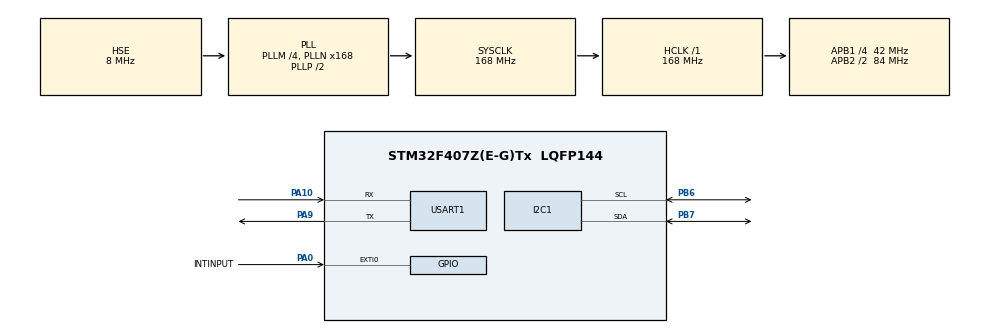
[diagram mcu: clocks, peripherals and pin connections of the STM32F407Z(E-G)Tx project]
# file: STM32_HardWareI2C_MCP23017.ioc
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Mcu.Family=STM32F4
Mcu.Name=STM32F407Z(E-G)Tx
Mcu.Package=LQFP144
NVIC.EXTI0_IRQn=true\:3\:3\:true\:false\:true\:true
NVIC.PriorityGroup=NVIC_PRIORITYGROUP_2
PA0-WKUP.GPIO_Label=INTINPUT
PA0-WKUP.GPIO_ModeDefaultEXTI=GPIO_MODE_IT_FALLING
PA0-WKUP.GPIO_PuPd=GPIO_PULLUP
PA0-WKUP.Signal=GPXTI0
PA10.Mode=Asynchronous
PA10.Signal=USART1_RX
PA13.Mode=Serial_Wire
PA13.Signal=SYS_JTMS-SWDIO
PA14.Mode=Serial_Wire
PA14.Signal=SYS_JTCK-SWCLK
PA9.Mode=Asynchronous
PA9.Signal=USART1_TX
PB6.Mode=I2C
PB6.Signal=I2C1_SCL
PB7.Mode=I2C
PB7.Signal=I2C1_SDA
PH0-OSC_IN.Mode=HSE-External-Oscillator
PH0-OSC_IN.Signal=RCC_OSC_IN
PH1-OSC_OUT.Mode=HSE-External-Oscillator
PH1-OSC_OUT.Signal=RCC_OSC_OUT
ProjectManager.HeapSize=0x200
ProjectManager.StackSize=0x400
ProjectManager.TargetToolchain=MDK-ARM V5
RCC.48MHZClocksFreq_Value=84000000
RCC.AHBFreq_Value=168000000
RCC.APB1CLKDivider=RCC_HCLK_DIV4
RCC.APB1Freq_Value=42000000
RCC.APB1TimFreq_Value=84000000
RCC.APB2CLKDivider=RCC_HCLK_DIV2
RCC.APB2Freq_Value=84000000
RCC.APB2TimFreq_Value=168000000
RCC.CortexFreq_Value=168000000
RCC.HCLKFreq_Value=168000000
RCC.HSE_VALUE=8000000
RCC.HSI_VALUE=16000000
RCC.LSE_VALUE=32768
RCC.PLLM=4
RCC.PLLN=168
RCC.PLLSourceVirtual=RCC_PLLSOURCE_HSE
RCC.SYSCLKFreq_VALUE=168000000
RCC.SYSCLKSource=RCC_SYSCLKSOURCE_PLLCLK
RCC.VCOOutputFreq_Value=336000000
USART1.VirtualMode=VM_ASYNC
board=STM32_HardWareI2C_MCP23017

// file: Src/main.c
/**
  ******************************************************************************
  * @file           : main.c
  * @brief          : Main program body
  ******************************************************************************
  ** This notice applies to any and all portions of this file
  * that are not between comment pairs USER CODE BEGIN and
  * USER CODE END. Other portions of this file, whether
  * inserted by the user or by software development tools
  * are owned by their respective copyright owners.
  *
  * COPYRIGHT(c) 2018 STMicroelectronics
  *
  * Redistribution and use in source and binary forms, with or without modification,
  * are permitted provided that the following conditions are met:
  *   1. Redistributions of source code must retain the above copyright notice,
  *      this list of conditions and the following disclaimer.
  *   2. Redistributions in binary form must reproduce the above copyright notice,
  *      this list of conditions and the following disclaimer in the documentation
  *      and/or other materials provided with the distribution.
  *   3. Neither the name of STMicroelectronics nor the names of its contributors
  *      may be used to endorse or promote products derived from this software
  *      without specific prior written permission.
  *
  * THIS SOFTWARE IS PROVIDED BY THE COPYRIGHT HOLDERS AND CONTRIBUTORS "AS IS"
  * AND ANY EXPRESS OR IMPLIED WARRANTIES, INCLUDING, BUT NOT LIMITED TO, THE
  * IMPLIED WARRANTIES OF MERCHANTABILITY AND FITNESS FOR A PARTICULAR PURPOSE ARE
  * DISCLAIMED. IN NO EVENT SHALL THE COPYRIGHT HOLDER OR CONTRIBUTORS BE LIABLE
  * FOR ANY DIRECT, INDIRECT, INCIDENTAL, SPECIAL, EXEMPLARY, OR CONSEQUENTIAL
  * DAMAGES (INCLUDING, BUT NOT LIMITED TO, PROCUREMENT OF SUBSTITUTE GOODS OR
  * SERVICES; LOSS OF USE, DATA, OR PROFITS; OR BUSINESS INTERRUPTION) HOWEVER
  * CAUSED AND ON ANY THEORY OF LIABILITY, WHETHER IN CONTRACT, STRICT LIABILITY,
  * OR TORT (INCLUDING NEGLIGENCE OR OTHERWISE) ARISING IN ANY WAY OUT OF THE USE
  * OF THIS SOFTWARE, EVEN IF ADVISED OF THE POSSIBILITY OF SUCH DAMAGE.
  *
  ******************************************************************************
  */
#include "main.h"
#include "stm32f4xx_hal.h"
#include "i2c.h"
#include "usart.h"
#include "gpio.h"

/* USER CODE BEGIN Includes */
#include "MCP23017.h"
/* USER CODE END Includes */

/* USER CODE BEGIN PV */
/* Private variables ---------------------------------------------------------*/

/* USER CODE END PV */

void SystemClock_Config(void);

/* USER CODE BEGIN PFP */
/* Private function prototypes -----------------------------------------------*/

/* USER CODE END PFP */

int main(void)
{

  /* MCU Configuration----------------------------------------------------------*/

  /* Reset of all peripherals, Initializes the Flash interface and the Systick. */
  HAL_Init();

  /* USER CODE BEGIN Init */
  //the param can be 0 to 7,don't solder A0,A1,A2 result in default address 0x27£¬param is 7
  //Addr(BIN)    Addr(hex)   param
  //010 0111      0x27         7
  //010 0110      0x26         6
  //010 0101      0x25         5
  //010 0100      0x24         4
  //010 0011      0x23         3
  //010 0010      0x22         2
  //010 0001      0x21         1
  //010 0000      0x20         0
  begin(7);
  /* USER CODE END Init */

  /* Configure the system clock */
  SystemClock_Config();

  /* Initialize all configured peripherals */
  MX_GPIO_Init();
  MX_USART1_UART_Init();
  MX_I2C1_Init();
  /* USER CODE BEGIN 2 */
  //Change this Macro definition to different demo test
  #define debug 0
  #define outputTest 0
  #define inputTest 0
  //For interrupt test, you need Connect PA7 and PB7 to a button(when the button pressed,it connect to GND)
  #define interruptTest 1
  /* USER CODE END 2 */

  /* Infinite loop */
    while (1)
    {

  /* USER CODE BEGIN 3 */

        HAL_Delay(500);

        #if(debug)
        for(int addr = 0; addr< 22; addr++)
        {
          printf("addr:0x%02x,value:0x%02x\r\n",addr,readRegister(addr));
        }
        printf("------------------------------------------\r\n");
        #endif

        #if(outputTest)
        for(int i = 0; i<16; i++)
        {
            pinMode(i, 0);
        }

        for(int i = 0; i<16; i++)
        {
            digitalWrite(i,1);
        }

        HAL_Delay(500);

        for(int i = 0; i<16; i++)
        {
            digitalWrite(i,0);
        }
        #endif

        #if(inputTest)
        //Pin0 Output
        pinMode(0, 0);
        //Pin1 Input
        pinMode(1, 1);
        //Pin1 Pullup
        pullUp(1,1);
        digitalWrite(0, digitalRead(1));
        #endif

        #if(interruptTest)
        //mirroring, don't openDrain, INT output pin will be low when interrupt occur
        setupInterrupts(1,0,0);

        //input
        pinMode(7,1);
        //pullup
        pullUp(7,1);
        //1 means compare against given value,and 1 means when differ from 1 occur the interrupt
        setupInterruptPin(7,1);

        //input
        pinMode(15,1);
        //pullup
        pullUp(15,1);
        //1 means compare against given value,and 1 means when differ from 1 occur the interrupt
        setupInterruptPin(15,1);
        #endif
    }
  /* USER CODE END 3 */

}

void SystemClock_Config(void)
{

  RCC_OscInitTypeDef RCC_OscInitStruct;
  RCC_ClkInitTypeDef RCC_ClkInitStruct;

    /**Configure the main internal regulator output voltage
    */
  __HAL_RCC_PWR_CLK_ENABLE();

  __HAL_PWR_VOLTAGESCALING_CONFIG(PWR_REGULATOR_VOLTAGE_SCALE1);

    /**Initializes the CPU, AHB and APB busses clocks
    */
  RCC_OscInitStruct.OscillatorType = RCC_OSCILLATORTYPE_HSE;
  RCC_OscInitStruct.HSEState = RCC_HSE_ON;
  RCC_OscInitStruct.PLL.PLLState = RCC_PLL_ON;
  RCC_OscInitStruct.PLL.PLLSource = RCC_PLLSOURCE_HSE;
  RCC_OscInitStruct.PLL.PLLM = 4;
  RCC_OscInitStruct.PLL.PLLN = 168;
  RCC_OscInitStruct.PLL.PLLP = RCC_PLLP_DIV2;
  RCC_OscInitStruct.PLL.PLLQ = 4;
  if (HAL_RCC_OscConfig(&RCC_OscInitStruct) != HAL_OK)
  {
    _Error_Handler(__FILE__, __LINE__);
  }

    /**Initializes the CPU, AHB and APB busses clocks
    */
  RCC_ClkInitStruct.ClockType = RCC_CLOCKTYPE_HCLK|RCC_CLOCKTYPE_SYSCLK
                              |RCC_CLOCKTYPE_PCLK1|RCC_CLOCKTYPE_PCLK2;
  RCC_ClkInitStruct.SYSCLKSource = RCC_SYSCLKSOURCE_PLLCLK;
  RCC_ClkInitStruct.AHBCLKDivider = RCC_SYSCLK_DIV1;
  RCC_ClkInitStruct.APB1CLKDivider = RCC_HCLK_DIV4;
  RCC_ClkInitStruct.APB2CLKDivider = RCC_HCLK_DIV2;

  if (HAL_RCC_ClockConfig(&RCC_ClkInitStruct, FLASH_LATENCY_5) != HAL_OK)
  {
    _Error_Handler(__FILE__, __LINE__);
  }

    /**Configure the Systick interrupt time
    */
  HAL_SYSTICK_Config(HAL_RCC_GetHCLKFreq()/1000);

    /**Configure the Systick
    */
  HAL_SYSTICK_CLKSourceConfig(SYSTICK_CLKSOURCE_HCLK);

  /* SysTick_IRQn interrupt configuration */
  HAL_NVIC_SetPriority(SysTick_IRQn, 0, 0);
}

/* USER CODE BEGIN 4 */
void HAL_GPIO_EXTI_Callback(uint16_t GPIO_Pin)
{
  if(GPIO_Pin == GPIO_PIN_0)
  {
      printf("_-_-_-_-_-_-_-_-_-_-_-_-_-_-_-\r\n");
      printf("the key has been pressed!!!\r\n");
      printf("the last interrupt Pin is: %d\r\n",getLastInterruptPin());
      printf("the last interrupt value is: %d\r\n",getLastInterruptPinValue());
      printf("_-_-_-_-_-_-_-_-_-_-_-_-_-_-_-\r\n");
  }
}
/* USER CODE END 4 */

void _Error_Handler(char *file, int line)
{
  while(1)
  {
  }
}

/************************ (C) COPYRIGHT STMicroelectronics *****END OF FILE****/
